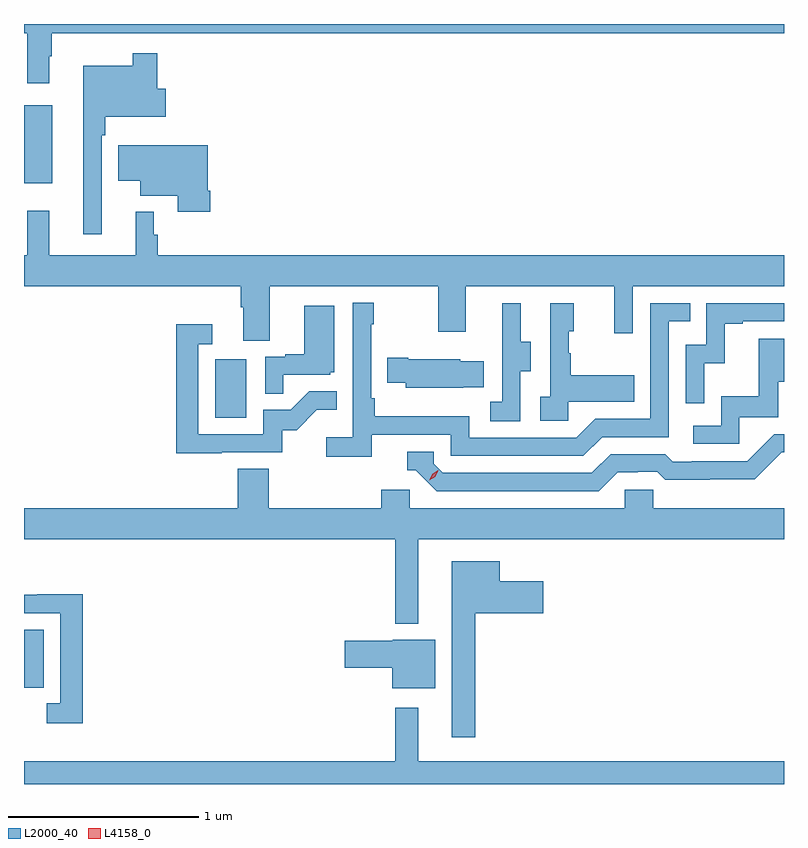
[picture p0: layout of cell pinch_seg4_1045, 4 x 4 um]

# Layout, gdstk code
import gdstk
lib = gdstk.Library(unit=1e-6, precision=1e-09)
def R(c, l, rs):  # rectangles x0, y0, x1, y1
    for r in rs: c.add(gdstk.rectangle(r[:2], r[2:], *l))
def P(c, l, *ps):  # polygons
    for p in ps: c.add(gdstk.Polygon(p, *l))
L2000_40 = (2000, 40)
L4158_0 = (4158, 0)

pinch_seg4_1045 = lib.new_cell('pinch_seg4_1045')
R(pinch_seg4_1045, L2000_40, [(836.751,758.742,836.854,759.049), (837.758,760.164,837.922,760.471), (836.751,761.399,836.899,761.809)])
P(pinch_seg4_1045, L2000_40, [(836.884,762.065),(836.896,762.065),(836.896,762.188),(840.751,762.188),(840.751,762.236),(836.751,762.236),(836.751,762.188),(836.767,762.188),(836.767,761.925),(836.884,761.925)],
  [(837.159,761.651),(837.179,761.651),(837.179,761.747),(837.496,761.747),(837.496,761.895),(837.452,761.895),(837.452,762.082),(837.324,762.082),(837.324,762.016),(837.062,762.016),(837.062,761.13),(837.159,761.13)],
  [(837.731,761.359),(837.718,761.359),(837.718,761.599),(837.248,761.599),(837.248,761.411),(837.362,761.411),(837.362,761.333),(837.56,761.333),(837.56,761.247),(837.731,761.247)],
  [(838.045,760.856),(838.93,760.856),(838.93,760.617),(839.077,760.617),(839.077,760.856),(839.858,760.856),(839.858,760.608),(839.955,760.608),(839.955,760.856),(840.751,760.856),(840.751,761.02),(837.455,761.02),(837.455,761.127),(837.435,761.127),(837.435,761.248),(837.338,761.248),(837.338,761.02),(836.885,761.02),(836.885,761.254),(836.767,761.254),(836.767,761.02),(836.751,761.02),(836.751,760.856),(837.893,760.856),(837.893,760.744),(837.905,760.744),(837.905,760.57),(838.045,760.57)],
  [(838.58,760.074),(838.998,760.074),(838.998,759.963),(839.695,759.963),(839.794,760.062),(840.144,760.062),(840.144,760.671),(840.257,760.671),(840.257,760.767),(840.048,760.767),(840.048,760.158),(839.757,760.158),(839.658,760.059),(839.094,760.059),(839.094,760.171),(838.598,760.171),(838.598,760.267),(838.578,760.267),(838.578,760.655),(838.591,760.655),(838.591,760.768),(838.482,760.768),(838.482,760.06),(838.341,760.06),(838.341,759.958),(838.58,759.958)],
  [(840.33,760.451),(840.44,760.451),(840.44,760.659),(840.535,760.659),(840.535,760.671),(840.751,760.671),(840.751,760.767),(840.342,760.767),(840.342,760.548),(840.234,760.548),(840.234,760.239),(840.33,760.239)],
  [(839.364,760.408),(839.419,760.408),(839.419,760.563),(839.365,760.563),(839.365,760.765),(839.267,760.765),(839.267,760.551),(839.268,760.551),(839.268,760.247),(839.205,760.247),(839.205,760.144),(839.364,760.144)],
  [(839.616,760.247),(839.963,760.247),(839.963,760.387),(839.629,760.387),(839.629,760.502),(839.619,760.502),(839.619,760.62),(839.644,760.62),(839.644,760.765),(839.52,760.765),(839.52,760.274),(839.469,760.274),(839.469,760.149),(839.616,760.149)],
  [(838.115,760.389),(838.362,760.389),(838.362,760.404),(838.384,760.404),(838.384,760.753),(838.226,760.753),(838.226,760.498),(838.127,760.498),(838.127,760.485),(838.02,760.485),(838.02,760.291),(838.115,760.291)],
  [(837.791,759.981),(838.11,759.981),(838.11,760.098),(838.186,760.098),(838.293,760.205),(838.397,760.205),(838.397,760.304),(838.253,760.304),(838.155,760.206),(838.011,760.206),(838.011,760.077),(837.669,760.077),(837.669,760.551),(837.742,760.551),(837.742,760.657),(837.553,760.657),(837.553,759.976),(837.791,759.976)],
  [(840.516,760.167),(840.721,760.167),(840.721,760.353),(840.751,760.353),(840.751,760.579),(840.619,760.579),(840.619,760.276),(840.42,760.276),(840.42,760.122),(840.273,760.122),(840.273,760.026),(840.516,760.026)],
  [(839.063,760.325),(839.171,760.325),(839.171,760.462),(839.046,760.462),(839.046,760.471),(838.774,760.471),(838.774,760.479),(838.663,760.479),(838.663,760.349),(838.761,760.349),(838.761,760.322),(839.063,760.322)],
  [(839.875,759.876),(839.982,759.876),(839.982,759.879),(840.085,759.879),(840.127,759.837),(840.36,759.837),(840.36,759.839),(840.596,759.839),(840.738,759.981),(840.751,759.981),(840.751,760.077),(840.699,760.077),(840.558,759.936),(840.265,759.936),(840.265,759.933),(840.166,759.933),(840.127,759.972),(839.838,759.972),(839.739,759.873),(838.956,759.873),(838.908,759.921),(838.908,759.984),(838.769,759.984),(838.769,759.888),(838.812,759.888),(838.923,759.777),(839.776,759.777)],
  [(838.825,759.524),(840.751,759.524),(840.751,759.688),(840.063,759.688),(840.063,759.786),(839.913,759.786),(839.913,759.688),(838.782,759.688),(838.782,759.786),(838.631,759.786),(838.631,759.688),(838.04,759.688),(838.04,759.896),(837.875,759.896),(837.875,759.688),(836.751,759.688),(836.751,759.524),(838.704,759.524),(838.704,759.08),(838.825,759.08)],
  [(839.125,759.134),(839.485,759.134),(839.485,759.304),(839.254,759.304),(839.254,759.409),(839.003,759.409),(839.003,758.481),(839.125,758.481)],
  [(837.059,759.236),(836.821,759.236),(836.821,759.231),(836.751,759.231),(836.751,759.135),(836.943,759.135),(836.943,758.661),(836.871,758.661),(836.871,758.556),(837.059,758.556)],
  [(838.915,758.995),(838.692,758.995),(838.692,758.99),(838.44,758.99),(838.44,758.848),(838.688,758.848),(838.688,758.741),(838.915,758.741)],
  [(840.751,758.356),(838.825,758.356),(838.825,758.638),(838.704,758.638),(838.704,758.356),(836.751,758.356),(836.751,758.236),(840.751,758.236)])
P(pinch_seg4_1045, L4158_0, [(838.885,759.835),(838.885,759.835),(838.901,759.868),(838.932,759.887),(838.932,759.887),(838.932,759.887),(838.916,759.854),(838.885,759.835)])

lib.write_gds('pinch_seg4_1045.gds')
